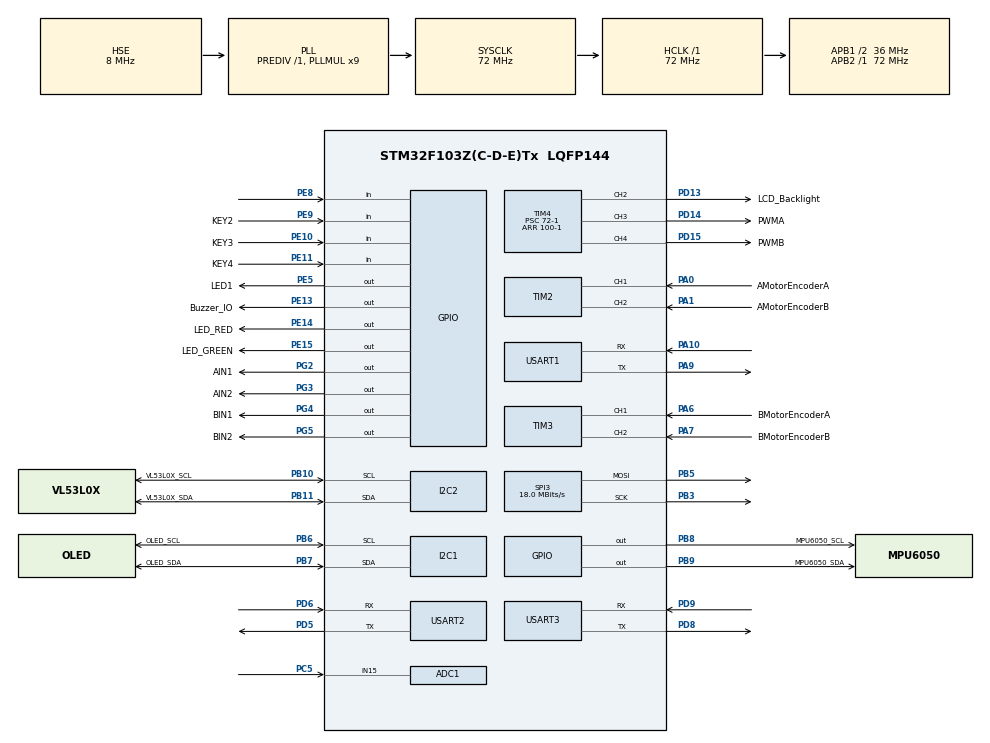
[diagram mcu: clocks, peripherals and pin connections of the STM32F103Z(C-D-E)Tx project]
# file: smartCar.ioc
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ADC1.Channel-5\#ChannelRegularConversion=ADC_CHANNEL_15
ADC1.Channel-6\#ChannelRegularConversion=ADC_CHANNEL_TEMPSENSOR
ADC1.ContinuousConvMode=ENABLE
ADC1.NbrOfConversion=2
ADC1.NbrOfConversionFlag=1
ADC1.Rank-5\#ChannelRegularConversion=1
ADC1.Rank-6\#ChannelRegularConversion=2
ADC1.SamplingTime-5\#ChannelRegularConversion=ADC_SAMPLETIME_239CYCLES_5
ADC1.SamplingTime-6\#ChannelRegularConversion=ADC_SAMPLETIME_239CYCLES_5
ADC1.master=1
Dma.ADC1.0.Direction=DMA_PERIPH_TO_MEMORY
Dma.ADC1.0.Instance=DMA1_Channel1
Dma.ADC1.0.MemDataAlignment=DMA_MDATAALIGN_WORD
Dma.ADC1.0.MemInc=DMA_MINC_ENABLE
Dma.ADC1.0.Mode=DMA_CIRCULAR
Dma.ADC1.0.PeriphDataAlignment=DMA_PDATAALIGN_WORD
Dma.ADC1.0.PeriphInc=DMA_PINC_DISABLE
Dma.ADC1.0.Priority=DMA_PRIORITY_MEDIUM
Dma.Request0=ADC1
I2C2.I2C_Mode=I2C_Fast
Mcu.Family=STM32F1
Mcu.Name=STM32F103Z(C-D-E)Tx
Mcu.Package=LQFP144
NVIC.DMA1_Channel1_IRQn=true\:0\:0\:false\:false\:true\:false\:true\:true
NVIC.PriorityGroup=NVIC_PRIORITYGROUP_4
NVIC.TIM1_UP_IRQn=true\:1\:0\:true\:false\:true\:true\:true\:true
NVIC.USART1_IRQn=true\:2\:0\:true\:false\:true\:true\:true\:true
OSC_IN.Mode=HSE-External-Oscillator
OSC_IN.Signal=RCC_OSC_IN
OSC_OUT.Mode=HSE-External-Oscillator
OSC_OUT.Signal=RCC_OSC_OUT
PA0-WKUP.GPIO_Label=AMotorEncoderA
PA0-WKUP.Signal=S_TIM2_CH1_ETR
PA1.GPIO_Label=AMotorEncoderB
PA1.Signal=S_TIM2_CH2
PA10.Mode=Asynchronous
PA10.Signal=USART1_RX
PA13.Mode=Serial_Wire
PA13.Signal=SYS_JTMS-SWDIO
PA14.Mode=Serial_Wire
PA14.Signal=SYS_JTCK-SWCLK
PA6.GPIO_Label=BMotorEncoderA
PA6.GPIO_PuPd=GPIO_PULLUP
PA6.Signal=S_TIM3_CH1
PA7.GPIO_Label=BMotorEncoderB
PA7.GPIO_PuPd=GPIO_PULLUP
PA7.Signal=S_TIM3_CH2
PA9.Mode=Asynchronous
PA9.Signal=USART1_TX
PB10.GPIO_Label=VL53L0X_SCL
PB10.GPIO_Speed=GPIO_SPEED_FREQ_HIGH
PB10.Mode=I2C
PB10.Signal=I2C2_SCL
PB11.GPIO_Label=VL53L0X_SDA
PB11.GPIO_Speed=GPIO_SPEED_FREQ_HIGH
PB11.Mode=I2C
PB11.Signal=I2C2_SDA
PB3.Mode=TX_Only_Simplex_Unidirect_Master
PB3.Signal=SPI3_SCK
PB5.Mode=TX_Only_Simplex_Unidirect_Master
PB5.Signal=SPI3_MOSI
PB6.GPIO_Label=OLED_SCL
PB6.Mode=I2C
PB6.Signal=I2C1_SCL
PB7.GPIO_Label=OLED_SDA
PB7.Mode=I2C
PB7.Signal=I2C1_SDA
PB8.GPIO_Label=MPU6050_SCL
PB8.GPIO_ModeDefaultOutputPP=GPIO_MODE_OUTPUT_OD
PB8.GPIO_PuPd=GPIO_PULLUP
PB8.GPIO_Speed=GPIO_SPEED_FREQ_HIGH
PB8.PinState=GPIO_PIN_RESET
PB8.Signal=GPIO_Output
PB9.GPIO_Label=MPU6050_SDA
PB9.GPIO_ModeDefaultOutputPP=GPIO_MODE_OUTPUT_OD
PB9.GPIO_PuPd=GPIO_PULLUP
PB9.GPIO_Speed=GPIO_SPEED_FREQ_HIGH
PB9.Signal=GPIO_Output
PC14-OSC32_IN.Mode=LSE-External-Oscillator
PC14-OSC32_IN.Signal=RCC_OSC32_IN
PC15-OSC32_OUT.Mode=LSE-External-Oscillator
PC15-OSC32_OUT.Signal=RCC_OSC32_OUT
PC5.Signal=ADCx_IN15
PD13.GPIO_Label=LCD_Backlight
PD13.GPIO_Speed=GPIO_SPEED_FREQ_HIGH
PD13.Signal=S_TIM4_CH2
PD14.GPIO_Label=PWMA
PD14.Signal=S_TIM4_CH3
PD15.GPIO_Label=PWMB
PD15.Signal=S_TIM4_CH4
PD5.Mode=Asynchronous
PD5.Signal=USART2_TX
PD6.Mode=Asynchronous
PD6.Signal=USART2_RX
PD8.Mode=Asynchronous
PD8.Signal=USART3_TX
PD9.Mode=Asynchronous
PD9.Signal=USART3_RX
PE10.GPIO_Label=KEY3
PE10.GPIO_PuPd=GPIO_PULLUP
PE10.Signal=GPIO_Input
PE11.GPIO_Label=KEY4
PE11.GPIO_PuPd=GPIO_PULLUP
PE11.Signal=GPIO_Input
PE13.GPIO_Label=Buzzer_IO
PE13.Signal=GPIO_Output
PE14.GPIO_Label=LED_RED
PE14.Signal=GPIO_Output
PE15.GPIO_Label=LED_GREEN
PE15.Signal=GPIO_Output
PE5.GPIO_Label=LED1
PE5.Signal=GPIO_Output
PE8.Signal=GPIO_Input
PE9.GPIO_Label=KEY2
PE9.GPIO_PuPd=GPIO_PULLUP
PE9.Signal=GPIO_Input
PG2.GPIO_Label=AIN1
PG2.Signal=GPIO_Output
PG3.GPIO_Label=AIN2
PG3.Signal=GPIO_Output
PG4.GPIO_Label=BIN1
PG4.Signal=GPIO_Output
PG5.GPIO_Label=BIN2
PG5.Signal=GPIO_Output
ProjectManager.HeapSize=0x200
ProjectManager.StackSize=0x400
ProjectManager.TargetToolchain=MDK-ARM V5
RCC.ADCPresc=RCC_ADCPCLK2_DIV6
RCC.AHBFreq_Value=72000000
RCC.APB1CLKDivider=RCC_HCLK_DIV2
RCC.APB1Freq_Value=36000000
RCC.APB1TimFreq_Value=72000000
RCC.APB2Freq_Value=72000000
RCC.APB2TimFreq_Value=72000000
RCC.HCLKFreq_Value=72000000
RCC.PLLMUL=RCC_PLL_MUL9
RCC.PLLSourceVirtual=RCC_PLLSOURCE_HSE
RCC.SYSCLKFreq_VALUE=72000000
RCC.SYSCLKSource=RCC_SYSCLKSOURCE_PLLCLK
RCC.USBFreq_Value=72000000
SH.ADCx_IN15.0=ADC1_IN15,IN15
SH.S_TIM2_CH1_ETR.0=TIM2_CH1,Encoder_Interface
SH.S_TIM2_CH2.0=TIM2_CH2,Encoder_Interface
SH.S_TIM3_CH1.0=TIM3_CH1,Encoder_Interface
SH.S_TIM3_CH2.0=TIM3_CH2,Encoder_Interface
SH.S_TIM4_CH2.0=TIM4_CH2,PWM Generation2 CH2
SH.S_TIM4_CH3.0=TIM4_CH3,PWM Generation3 CH3
SH.S_TIM4_CH4.0=TIM4_CH4,PWM Generation4 CH4
SPI3.CalculateBaudRate=18.0 MBits/s
SPI3.Direction=SPI_DIRECTION_2LINES
SPI3.Mode=SPI_MODE_MASTER
SPI3.VirtualType=VM_MASTER
TIM1.AutoReloadPreload=TIM_AUTORELOAD_PRELOAD_ENABLE
TIM1.Period=10000-1
TIM1.Prescaler=72-1
TIM2.AutoReloadPreload=TIM_AUTORELOAD_PRELOAD_ENABLE
TIM2.EncoderMode=TIM_ENCODERMODE_TI12
TIM3.AutoReloadPreload=TIM_AUTORELOAD_PRELOAD_ENABLE
TIM3.EncoderMode=TIM_ENCODERMODE_TI12
TIM3.IC1Filter=6
TIM3.IC2Filter=6
TIM4.AutoReloadPreload=TIM_AUTORELOAD_PRELOAD_DISABLE
TIM4.Channel-PWM\ Generation2\ CH2=TIM_CHANNEL_2
TIM4.Channel-PWM\ Generation3\ CH3=TIM_CHANNEL_3
TIM4.Channel-PWM\ Generation4\ CH4=TIM_CHANNEL_4
TIM4.OCPolarity_2=TIM_OCPOLARITY_HIGH
TIM4.Period=100-1
TIM4.Prescaler=72-1
TIM4.Pulse-PWM\ Generation2\ CH2=50
USART1.VirtualMode=VM_ASYNC
USART2.VirtualMode=VM_ASYNC
USART3.VirtualMode=VM_ASYNC
VP_ADC1_TempSens_Input.Mode=IN-TempSens
VP_TIM1_VS_ClockSourceINT.Mode=Internal
VP_TIM4_VS_ClockSourceINT.Mode=Internal
board=custom

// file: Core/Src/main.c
/* USER CODE BEGIN Header */
/**
 ******************************************************************************
 * @file           : main.c
 * @brief          : Main program body
 ******************************************************************************
 * @attention
 *
 * Copyright (c) 2023 STMicroelectronics.
 * All rights reserved.
 *
 * This software is licensed under terms that can be found in the LICENSE file
 * in the root directory of this software component.
 * If no LICENSE file comes with this software, it is provided AS-IS.
 *
 ******************************************************************************
 */
/* USER CODE END Header */
#include "main.h"
#include "adc.h"
#include "dma.h"
#include "i2c.h"
#include "spi.h"
#include "tim.h"
#include "usart.h"
#include "gpio.h"

/* USER CODE BEGIN Includes */
#include "motor.h"
#include "pid.h"
#include "oled.h"
#include "stdio.h"
#include "string.h"
#include "IIC.h"
#include "mpu6050.h"
#include "inv_mpu.h"
#include "inv_mpu_dmp_motion_driver.h"
#include "VL53L0X.h"
#include "lcd_spi_169.h"
/* USER CODE END Includes */

/* USER CODE BEGIN PTD */
PID Motor_PID[2];
PID_POSITION Motor_Position_PID[2];
PID trailMotor_PID;
/* USER CODE END PTD */

/* USER CODE BEGIN PV */
int testPWM = 20;
char oledString[30];
char LCD_String[50];
int tim1Count = 0; // 中断计时
float batteryVoltage = 0.0;
float pitch, roll, yaw;    // 欧拉角
short gyrox, gyroy, gyroz; // 陀螺仪原始数据

volatile uint32_t adcBuffer[ADC_CHANNEL_COUNT * ADC_AVERAGE_COUNT]; // 保存ADC转换后的数值
float ADC_Value[ADC_CHANNEL_COUNT];                                 // 保存计算后的数值
float temperature = 0.0;                                            // 内部温度传感器

short encoderPulse[2] = {0};    // 编码器脉冲数
int totalEncoderPulse[2] = {0}; // 编码器总脉冲数
float wheelTurns[2] = {0};      // 行驶的总圈数
float targetTurn[2] = {10, -10};
float totalDistance = 0.0; // 行驶的路程

float wheelSpeed[2] = {0}; // 0为左轮，1为右轮，本工程中均如此
float targetSpeed[2] = {0.0, 0.0};

uint8_t Uart1RxBuff;         // 进入中断接收数据的数组
uint8_t Uart1DataBuff[5000]; // 保存接收到的数据的数组
int Rx1Line = 0;             // 接收到的数据长度

int mode[5] = {0};

float distance[2] = {0.0}; // unit: m
statInfo_t_VL53L0X distanceStr;
/* USER CODE END PV */

void SystemClock_Config(void);

int main(void)
{

  /* MCU Configuration--------------------------------------------------------*/

  /* Reset of all peripherals, Initializes the Flash interface and the Systick. */
  HAL_Init();

  /* Configure the system clock */
  SystemClock_Config();

  /* Initialize all configured peripherals */
  MX_GPIO_Init();
  MX_DMA_Init();
  MX_TIM1_Init();
  MX_TIM3_Init();
  MX_TIM4_Init();
  MX_USART1_UART_Init();
  MX_USART2_UART_Init();
  MX_ADC1_Init();
  MX_I2C1_Init();
  MX_TIM2_Init();
  MX_USART3_UART_Init();
  MX_I2C2_Init();
  MX_SPI3_Init();
  /* USER CODE BEGIN 2 */
  // OLED_Init(); // 初始化OLED
  // OLED_Clear();

  SPI_LCD_Init(); // SPI LCD初始化

  // Initialise the VL53L0X
  initVL53L0X(1, &hi2c2);

  // Configure the sensor for high accuracy and speed in 20 cm.
  setSignalRateLimit(200);
  setVcselPulsePeriod(VcselPeriodPreRange, 10);
  setVcselPulsePeriod(VcselPeriodFinalRange, 14);
  setMeasurementTimingBudget(300 * 1000UL);

  MPU_Init();     // MPU6050初始化
  mpu_dmp_init(); // dmp初始化

  HAL_TIM_Base_Start_IT(&htim1);                 // 启动定时器1中断
  HAL_UART_Receive_IT(&huart1, &Uart1RxBuff, 1); // 串口1接收中断
  HAL_TIM_PWM_Start(&htim4, TIM_CHANNEL_3);
  HAL_TIM_PWM_Start(&htim4, TIM_CHANNEL_4);
  HAL_TIM_Encoder_Start(&htim2, TIM_CHANNEL_1);
  HAL_TIM_Encoder_Start(&htim2, TIM_CHANNEL_2);
  HAL_TIM_Encoder_Start(&htim3, TIM_CHANNEL_1);
  HAL_TIM_Encoder_Start(&htim3, TIM_CHANNEL_2); // start encoder timer
  HAL_ADC_Start_DMA(&hadc1, (uint32_t *)adcBuffer, ADC_CHANNEL_COUNT * ADC_AVERAGE_COUNT);
  // HAL_ADCEx_Calibration_Start(&CCD_AO_hadc);
  __HAL_TIM_ENABLE_IT(&htim2, TIM_IT_UPDATE);
  __HAL_TIM_ENABLE_IT(&htim3, TIM_IT_UPDATE); // start encoder timer to update interrupts and prevent overflow processing

  __HAL_TIM_SET_COUNTER(&htim2, 0);
  __HAL_TIM_SET_COUNTER(&htim3, 0); // initialize encoder timing and set it to 3000

  // __HAL_TIM_SET_COMPARE(&htim4, TIM_CHANNEL_2, 0);

  Speed_PID_Init(&Motor_PID[0]);
  Speed_PID_Init(&Motor_PID[1]);
  Position_PID_Init(&Motor_Position_PID[0]);
  Position_PID_Init(&Motor_Position_PID[1]);
  Trail_PID_Init(&trailMotor_PID);

  /* USER CODE END 2 */

  /* Infinite loop */
  /* USER CODE BEGIN WHILE */
  while (1)
  {
    // OLEDShow();
    LCD_Show();
    /* USER CODE END WHILE */

  }
}

void SystemClock_Config(void)
{
  RCC_OscInitTypeDef RCC_OscInitStruct = {0};
  RCC_ClkInitTypeDef RCC_ClkInitStruct = {0};
  RCC_PeriphCLKInitTypeDef PeriphClkInit = {0};

  /** Initializes the RCC Oscillators according to the specified parameters
   * in the RCC_OscInitTypeDef structure.
   */
  RCC_OscInitStruct.OscillatorType = RCC_OSCILLATORTYPE_HSE;
  RCC_OscInitStruct.HSEState = RCC_HSE_ON;
  RCC_OscInitStruct.HSEPredivValue = RCC_HSE_PREDIV_DIV1;
  RCC_OscInitStruct.HSIState = RCC_HSI_ON;
  RCC_OscInitStruct.PLL.PLLState = RCC_PLL_ON;
  RCC_OscInitStruct.PLL.PLLSource = RCC_PLLSOURCE_HSE;
  RCC_OscInitStruct.PLL.PLLMUL = RCC_PLL_MUL9;
  if (HAL_RCC_OscConfig(&RCC_OscInitStruct) != HAL_OK)
  {
    Error_Handler();
  }

  /** Initializes the CPU, AHB and APB buses clocks
   */
  RCC_ClkInitStruct.ClockType = RCC_CLOCKTYPE_HCLK | RCC_CLOCKTYPE_SYSCLK | RCC_CLOCKTYPE_PCLK1 | RCC_CLOCKTYPE_PCLK2;
  RCC_ClkInitStruct.SYSCLKSource = RCC_SYSCLKSOURCE_PLLCLK;
  RCC_ClkInitStruct.AHBCLKDivider = RCC_SYSCLK_DIV1;
  RCC_ClkInitStruct.APB1CLKDivider = RCC_HCLK_DIV2;
  RCC_ClkInitStruct.APB2CLKDivider = RCC_HCLK_DIV1;

  if (HAL_RCC_ClockConfig(&RCC_ClkInitStruct, FLASH_LATENCY_2) != HAL_OK)
  {
    Error_Handler();
  }
  PeriphClkInit.PeriphClockSelection = RCC_PERIPHCLK_ADC;
  PeriphClkInit.AdcClockSelection = RCC_ADCPCLK2_DIV6;
  if (HAL_RCCEx_PeriphCLKConfig(&PeriphClkInit) != HAL_OK)
  {
    Error_Handler();
  }
}

/* USER CODE BEGIN 4 */
void HAL_TIM_PeriodElapsedCallback(TIM_HandleTypeDef *htim)
{
  tim1Count++;
  if (htim == &htim1) // htim1 | 100Hz | 10ms
  {
    MPU6050_GetData();
    //--------------------------PID计算------------------------------------------------
    PID_Calculate();
    MotorControl(Motor_PID[0].PWM, Motor_PID[1].PWM);

    // printf("test\r\n");
    // printf("data:%.2f,%.2f,10\r\n", wheelTurns[0], wheelTurns[1]);
    //-----------------------获取电压值-------------------------------------------------
    if (tim1Count > 100) // 100 * 10 ms = 1s
    {
      HAL_GPIO_TogglePin(LED1_GPIO_Port, LED1_Pin);
      batteryVoltage = ADC_Value[0] * 5.0;
      tim1Count = 0;
    }
  }
}

void OLEDShow()
{
  sprintf(oledString, "voltage:%.1fV", batteryVoltage);
  OLED_ShowString(0, 0, (char *)oledString, 12, 0);

  sprintf(oledString, "A:%.2fm/s B:%.2fm/s      ", wheelSpeed[0], wheelSpeed[1]);
  OLED_ShowString(0, 2, (char *)oledString, 12, 0);

  sprintf(oledString, "At:%.2f Bt:%.2f    ", wheelTurns[0], wheelTurns[1]);
  OLED_ShowString(0, 4, (char *)oledString, 12, 0);
}

void MPU6050_GetData() // 获取MPU6050的数值
{
  while (mpu_dmp_get_data(&pitch, &roll, &yaw))
    ;                                                  // 必须要用while等待，才能读取成功
  MPU_Get_Gyroscope(&gyrox, &gyroy, &gyroz);           // 得到陀螺仪数据
  printf("data:%.1f,%.1f,%.1f\r\n", roll, pitch, yaw); // 串口1输出采集信息
}

void PID_Calculate()
{
  GetEncoderPulse();
  wheelTurns[0] = CalNumberOfTurns(totalEncoderPulse[0]); // 获得当前行驶圈数
  wheelTurns[1] = CalNumberOfTurns(totalEncoderPulse[1]);

  targetSpeed[0] = Position_PID(targetTurn[0], wheelTurns[0], &Motor_Position_PID[0]); // 根据目标圈数计算目标速度
  targetSpeed[1] = Position_PID(targetTurn[1], wheelTurns[1], &Motor_Position_PID[1]);

  wheelSpeed[0] = CalActualSpeed(encoderPulse[0]); // 获得当前的速度值
  wheelSpeed[1] = CalActualSpeed(encoderPulse[1]);

  Speed_PID(targetSpeed[0], wheelSpeed[0], &Motor_PID[0]); // 根据目标速度和实际速度计算PID参数
  Speed_PID(targetSpeed[1], wheelSpeed[1], &Motor_PID[1]);

  distance[0] = wheelTurns[0] * PERIMETER; // 左轮路程
  distance[1] = wheelTurns[1] * PERIMETER; // 左轮路程
}

void LCD_Show()
{
  LCD_SetDirection(Direction_V);
  LCD_SetTextFont(&CH_Font20);
  LCD_SetColor(LIGHT_YELLOW);
  LCD_SetBackColor(LCD_BLACK);

  sprintf(LCD_String, "voltage:%.1fV          ", batteryVoltage);
  LCD_DisplayText(13, 10, LCD_String);
  sprintf(LCD_String, "Speed_A:%.2fm/s    ", wheelSpeed[0]);
  LCD_DisplayText(13, 40, LCD_String);
  sprintf(LCD_String, "Speed_B:%.2fm/s    ", wheelSpeed[1]);
  LCD_DisplayText(13, 70, LCD_String);
  sprintf(LCD_String, "distance_A: %.2f       ", distance[0]);
  LCD_DisplayText(13, 100, LCD_String);
  sprintf(LCD_String, "distance_B: %.2f       ", distance[1]);
  LCD_DisplayText(13, 130, LCD_String);
  sprintf(LCD_String, "Wheel_A_turns:%.2f    ", wheelTurns[0]);
  LCD_DisplayText(13, 160, LCD_String);
  sprintf(LCD_String, "Wheel_B_turns:%.2f    ", wheelTurns[1]);
  LCD_DisplayText(13, 190, LCD_String);
  sprintf(LCD_String, "P:%.f  R:%.1f  Y:%.1f    ", pitch, roll, yaw);
  LCD_DisplayText(13, 220, LCD_String);
}

/* USER CODE END 4 */

void Error_Handler(void)
{
  __disable_irq();
  while (1)
  {
  }
}
